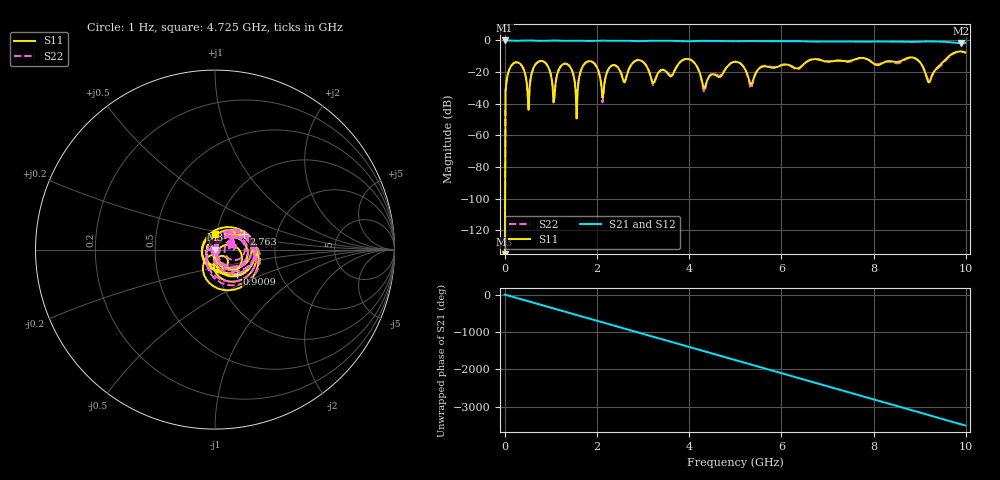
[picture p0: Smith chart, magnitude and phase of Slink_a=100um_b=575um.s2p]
! TouchStone data converted from IdEM dataset
# Hz S DB R 50
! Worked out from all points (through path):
!   500 points, 1 Hz to 9.99 GHz, reference 50 ohm
!   highest |S21| = 0.00 dB at 1 Hz (marker M1); lowest = -1.6 dB at 9.89 GHz (marker M2)
!   group delay of S21, straight-line fit = 973 ps
!   lowest |S11| = -178.0 dB at 1 Hz (marker M3), VSWR 1.00, Z = 50 + j1.26e-07 ohm
!   |S11| at or under -10 dB: start of sweep to 9.632 GHz
!   |S22| runs from -178.0 to -7.1 dB; largest |S21 - S12| = 3.6e-15
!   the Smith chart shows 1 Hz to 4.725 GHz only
!   S11 on the Smith chart (normalised r, x): 1 Hz: 1.00, +0.00; 900.9 MHz: 1.22, -0.35; 2.763 GHz: 1.36, +0.25; 4.725 GHz: 0.98, +0.17
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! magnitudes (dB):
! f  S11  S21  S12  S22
! 1 Hz  -178.0  0.0  0.0  -178.0
! 60.06 MHz  -22.6  0.0  0.0  -22.6
! 140.1 MHz  -16.2  -0.1  -0.1  -16.2
! 520.5 MHz  -43.5  0.0  0.0  -44.0
! 900.9 MHz  -14.7  -0.2  -0.2  -14.7
! 1.061 GHz  -39.2  -0.1  -0.1  -38.3
! 1.381 GHz  -15.5  -0.2  -0.2  -15.4
! 1.562 GHz  -49.4  -0.1  -0.1  -42.8
! 1.682 GHz  -17.1  -0.2  -0.2  -17.1
! 1.942 GHz  -14.5  -0.3  -0.3  -14.5
! 2.122 GHz  -36.2  -0.1  -0.1  -39.1
! 2.302 GHz  -16.3  -0.2  -0.2  -16.3
! 2.763 GHz  -14.7  -0.3  -0.3  -14.7
! 3.343 GHz  -20.0  -0.2  -0.2  -20.0
! 4.725 GHz  -21.2  -0.3  -0.3  -20.6
! 5.005 GHz  -13.5  -0.5  -0.5  -13.4
! 5.345 GHz  -27.9  -0.3  -0.3  -30.4
! 6.667 GHz  -12.0  -0.7  -0.7  -11.8
! 8.328 GHz  -13.1  -0.7  -0.7  -13.2
! 9.209 GHz  -26.4  -0.6  -0.6  -24.8
! 9.89 GHz  -7.0  -1.6  -1.6  -7.1
! 9.99 GHz  -7.6  -1.5  -1.5  -7.8
